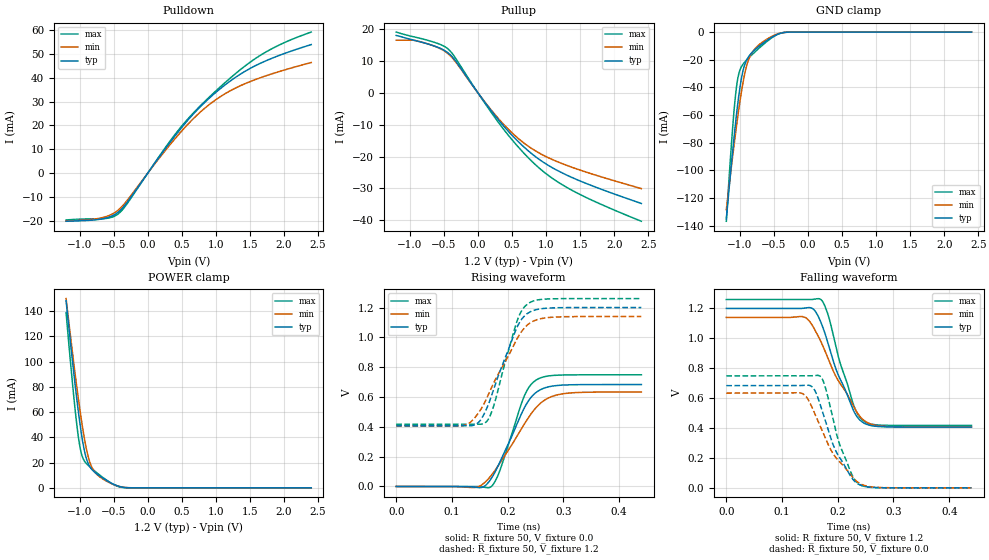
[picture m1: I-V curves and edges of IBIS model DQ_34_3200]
| [Disclaimer]  This software code and all associated documentation, comments
| or other information (collectively "Software") is provided
| "AS IS" without warranty of any kind. MICRON TECHNOLOGY, INC.
| ("MTI") EXPRESSLY DISCLAIMS ALL WARRANTIES EXPRESS OR IMPLIED,
| INCLUDING BUT NOT LIMITED TO, NONINFRINGEMENT OF THIRD PARTY
| RIGHTS, AND ANY IMPLIED WARRANTIES OF MERCHANTABILITY OR
| FITNESS FOR ANY PARTICULAR PURPOSE. MTI DOES NOT WARRANT THAT
| THE SOFTWARE WILL MEET YOUR REQUIREMENTS, OR THAT THE
| OPERATION OF THE SOFTWARE WILL BE UNINTERRUPTED OR ERROR-FREE.
| FURTHERMORE, MTI DOES NOT MAKE ANY REPRESENTATIONS REGARDING
| THE USE OR THE RESULTS OF THE USE OF THE SOFTWARE IN TERMS OF
| ITS CORRECTNESS, ACCURACY, RELIABILITY, OR OTHERWISE. THE
| ENTIRE RISK ARISING OUT OF USE OR PERFORMANCE OF THE SOFTWARE
| REMAINS WITH YOU. IN NO EVENT SHALL MTI, ITS AFFILIATED
| COMPANIES OR THEIR SUPPLIERS BE LIABLE FOR ANY DIRECT,
| INDIRECT, CONSEQUENTIAL, INCIDENTAL, OR SPECIAL DAMAGES
| (INCLUDING, WITHOUT LIMITATION, DAMAGES FOR LOSS OF PROFITS,
| BUSINESS INTERRUPTION, OR LOSS OF INFORMATION) ARISING OUT OF
| YOUR USE OF OR INABILITY TO USE THE SOFTWARE, EVEN IF MTI HAS
| BEEN ADVISED OF THE POSSIBILITY OF SUCH DAMAGES. Because some
| jurisdictions prohibit the exclusion or limitation of
| liability for consequential or incidental damages, the above
| limitation may not apply to you.
| [Copyright] Copyright 2022 Micron Technology, Inc. All rights reserved.
| From z41c_it.ibs, Micron Technology,Inc.
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| MODEL DQ_34_3200 (34 Ohm Data I/O with no ODT, 1600-3200Mbps)
[Model]   DQ_34_3200
Model_type   I/O
Vinl = 905.000mV
Vinh = 1015.000mV
Vmeas = 960.000mV
Vref = 1200.000mV
Cref = 0.0pF
Rref = 50.000Ohm
|   typ   min   max
|C_comp   0.690pF   0.640pF   0.740pF
C_comp_pullup   0.345pF   0.320pF   0.370pF
C_comp_pulldown   0.345pF   0.320pF   0.370pF
[Model Spec]
| Timing spec test load voltage corners
Vref   1.2000V   1.1400V   1.2600V
| Dynamic Overshoot Parameters from DDR4 Specification
|D_overshoot_ampl_h   0.40   NA   NA
|D_overshoot_ampl_l   0.40   NA   NA
|D_overshoot_area_h   0.0800n   NA   NA
|D_overshoot_area_l   0.0800n   NA   NA
[Voltage Range]   1.2000V   1.1400V   1.2600V
| Junction Temperature (Ambient temp is 35C typ, 95C min, -40C max)
[Temperature Range]   50.0   110.0   -40.0
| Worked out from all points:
|   slope of the pulldown table from 0 to 0.18 V, typ, clamps not added: 24.9 ohm
|   slope of the pullup table from 0 to 0.18 V, typ, clamps not added: 34.7 ohm
|   GND clamp passes 1 mA (typ) near -0.41 V on its own axis
|   POWER clamp passes 1 mA (typ) near -0.41 V on its own axis
|   rising waveform, R_fixture 50, V_fixture 0.0: 20-80 % time 50.2ps typ, 65.2ps min, 39ps max; typ from 0 V to 0.684 V
|   rising waveform, R_fixture 50, V_fixture 1.2: 20-80 % time 46.9ps typ, 60ps min, 36.7ps max; typ from 0.407 V to 1.2 V
|   falling waveform, R_fixture 50, V_fixture 1.2: 20-80 % time 46.5ps typ, 59.5ps min, 38.1ps max; typ from 1.2 V to 0.407 V
|   falling waveform, R_fixture 50, V_fixture 0.0: 20-80 % time 44.7ps typ, 57.4ps min, 35.7ps max; typ from 0.684 V to 0 V
[Pulldown]
|   Voltage   I(typ)   I(min)   I(max)
-1.2V     -20.25mA   -20.12mA   -19.69mA
-705mV    -19.42mA   -18.96mA   -19.23mA
-552mV    -18.32mA   -17.63mA   -18.73mA
-435mV    -16.42mA   -15.55mA   -17.16mA
-300mV    -12.16mA   -11.37mA   -12.72mA
420mV     16.35mA    15.11mA    16.96mA
678mV     25.12mA    23.13mA    25.51mA
918mV     31.87mA    29.12mA    32.33mA
1.278V    40.03mA    35.57mA    41.54mA
1.65V     46.08mA    40.02mA    49.42mA
1.998V    50.16mA    43.23mA    54.71mA
2.4V      53.98mA    46.45mA    59.25mA
[GND Clamp]
|   Voltage   I(typ)   I(min)   I(max)
-1.2V     -135.1mA   -128.5mA   -136.8mA
-1.14V    -102.9mA   -103.2mA   -91.52mA
-1.092V   -78.73mA   -83.81mA   -59.99mA
-1.056V   -62.02mA   -69.95mA   -41.82mA
-1.017V   -46.05mA   -55.84mA   -30.22mA
-978mV    -33.41mA   -43.1mA    -25.07mA
-936mV    -24.46mA   -31.61mA   -22.06mA
-852mV    -16.43mA   -17.45mA   -17.76mA
-735mV    -10.89mA   -9.841mA   -12.36mA
-561mV    -4.664mA   -3.905mA   -5.156mA
-291mV    -92.21uA   -91.11uA   -51.6uA
2.4V      0A         0A         0A
[Pullup]
|   Voltage   I(typ)   I(min)   I(max)
-1.2V     18.02mA    16.54mA    19.1mA
-828mV    15.91mA    15.95mA    17.02mA
-600mV    14.39mA    14.34mA    15.58mA
-435mV    12.48mA    12.23mA    13.72mA
-327mV    9.991mA    9.723mA    10.84mA
60mV      -1.766mA   -1.697mA   -1.918mA
354mV     -9.833mA   -9.357mA   -10.79mA
606mV     -15.6mA    -14.56mA   -17.32mA
828mV     -19.76mA   -18mA      -22.23mA
1.086V    -23.43mA   -20.88mA   -26.73mA
1.368V    -26.45mA   -23.28mA   -30.45mA
2.4V      -34.75mA   -30.08mA   -40.33mA
[POWER Clamp]
|   Voltage   I(typ)   I(min)   I(max)
-1.2V     148.2mA    149.9mA    138.8mA
-1.131V   112.7mA    118.3mA    97.13mA
-1.074V   84.85mA    93.2mA     65.44mA
-1.029V   64.37mA    74.46mA    44.13mA
-990mV    48.49mA    59.28mA    30.64mA
-936mV    30.68mA    40.66mA    21.71mA
-864mV    18.03mA    22.5mA     17.2mA
-798mV    13.27mA    13.99mA    14.12mA
-714mV    9.674mA    9.039mA    10.45mA
-498mV    2.716mA    2.522mA    2.526mA
-351mV    356.7uA    399.4uA    181.7uA
2.4V      0A         0A         0A
[Ramp]
|   typ   min   max
| 20% - 80%
dV/dt_r   410.19m/50.18p   380.12m/65.19p   449.47m/39.04p
dV/dt_f   475.94m/46.49p   440.00m/59.48p   505.66m/38.14p
| Slew rate: Power terminated
|SR_r[V/ns]   10.16   7.34   13.76
|SR_f[V/ns]   10.24   7.40   13.26
| 25% - 75%
|dV/dt_r   341.82m/41.08p   316.77m/53.34p   374.56m/31.95p
|dV/dt_f   396.62m/39.06p   366.67m/49.90p   421.39m/32.17p
| Slew rate: Power terminated
|SR_r[V/ns]   10.19   7.34   13.87
|SR_f[V/ns]   10.15   7.35   13.10
R_load = 50
[Rising Waveform]
R_fixture = 50
V_fixture = 0.0
|   Time   V(typ)   V(min)   V(max)
0s        6.916uV    15.29uV    525.5nV
141ps     -5.442mV   -6.918mV   307.6uV
156ps     -3.11mV    17.52mV    -4.671mV
168ps     39.74mV    62.5mV     -6.46mV
185ps     155.3mV    150.3mV    96.5mV
230ps     527.4mV    419.1mV    607.7mV
249ps     624.3mV    520.7mV    708.3mV
271ps     666.2mV    589.5mV    740.1mV
299ps     680.1mV    621.6mV    747.8mV
440ps     683.6mV    633.6mV    749.1mV
[Rising Waveform]
R_fixture   = 50
V_fixture   = 1.2
V_fixture_min = 1.14
V_fixture_max = 1.26
|   Time   V(typ)   V(min)   V(max)
0s        406.8mV    406.7mV    417.2mV
123ps     406.4mV    410.8mV    417.2mV
146ps     424.3mV    484.8mV    416.8mV
161ps     511.2mV    580.2mV    431.4mV
176ps     664.8mV    702.6mV    552.4mV
219ps     1.084V     1.004V     1.131V
229ps     1.139V     1.059V     1.199V
242ps     1.174V     1.101V     1.238V
287ps     1.198V     1.137V     1.259V
440ps     1.2V       1.14V      1.26V
[Falling Waveform]
R_fixture   = 50
V_fixture   = 1.2
V_fixture_min = 1.14
V_fixture_max = 1.26
|   Time   V(typ)   V(min)   V(max)
0s        1.2V       1.14V      1.26V
136ps     1.201V     1.146V     1.26V
156ps     1.196V     1.076V     1.261V
170ps     1.105V     976.3mV    1.259V
183ps     961.4mV    861.1mV    1.153V
203ps     737.2mV    704.9mV    851mV
229ps     511.2mV    541.2mV    547.8mV
250ps     427.7mV    443.6mV    439.6mV
289ps     407.7mV    409.5mV    417.9mV
440ps     406.8mV    406.7mV    417.2mV
[Falling Waveform]
R_fixture = 50
V_fixture = 0.0
|   Time   V(typ)   V(min)   V(max)
0s        683.6mV    633.6mV    749.1mV
135ps     684.8mV    632.5mV    749.1mV
155ps     672.1mV    528.3mV    750.3mV
169ps     551mV      408mV      744.8mV
178ps     446.7mV    331.1mV    668.6mV
192ps     284.9mV    226.2mV    452.3mV
204ps     198.7mV    171.5mV    283.6mV
227ps     57.49mV    69.47mV    76.22mV
242ps     15.88mV    24.35mV    17.22mV
440ps     6.914uV    15.38uV    531.4nV
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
